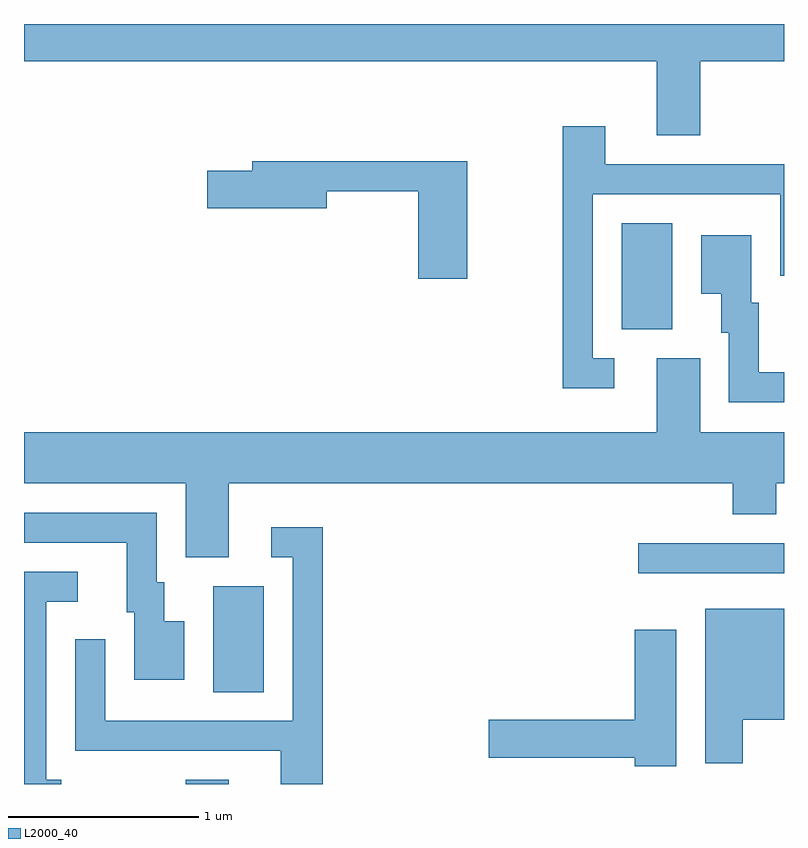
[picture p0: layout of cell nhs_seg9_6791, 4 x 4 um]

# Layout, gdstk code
import gdstk
lib = gdstk.Library(unit=1e-6, precision=1e-09)
def R(c, l, rs):  # rectangles x0, y0, x1, y1
    for r in rs: c.add(gdstk.rectangle(r[:2], r[2:], *l))
def P(c, l, *ps):  # polygons
    for p in ps: c.add(gdstk.Polygon(p, *l))
L2000_40 = (2000, 40)

nhs_seg9_6791 = lib.new_cell('nhs_seg9_6791')
R(nhs_seg9_6791, L2000_40, [(386.461,2012.432,386.689,2012.454), (386.606,2012.916,386.874,2013.474), (388.843,2013.541,389.611,2013.699), (388.756,2014.826,389.024,2015.384)])
P(nhs_seg9_6791, L2000_40, [(389.169,2016.236),(389.611,2016.236),(389.611,2016.432),(385.611,2016.432),(385.611,2016.236),(388.941,2016.236),(388.941,2015.846),(389.169,2015.846)],
  [(388.718,2014.674),(388.604,2014.674),(388.604,2015.536),(389.591,2015.536),(389.591,2015.108),(389.611,2015.108),(389.611,2015.694),(388.669,2015.694),(388.669,2015.894),(388.446,2015.894),(388.446,2014.516),(388.718,2014.516)],
  [(387.944,2015.709),(386.811,2015.709),(386.811,2015.659),(386.576,2015.659),(386.576,2015.461),(387.204,2015.461),(387.204,2015.551),(387.686,2015.551),(387.686,2015.091),(387.944,2015.091)],
  [(389.611,2014.599),(389.479,2014.599),(389.479,2014.964),(389.439,2014.964),(389.439,2015.319),(389.176,2015.319),(389.176,2015.011),(389.281,2015.011),(389.281,2014.806),(389.321,2014.806),(389.321,2014.441),(389.611,2014.441)],
  [(386.689,2014.016),(389.341,2014.016),(389.341,2013.851),(389.569,2013.851),(389.569,2014.016),(389.611,2014.016),(389.611,2014.284),(389.169,2014.284),(389.169,2014.674),(388.941,2014.674),(388.941,2014.284),(385.611,2014.284),(385.611,2014.016),(386.461,2014.016),(386.461,2013.626),(386.689,2013.626)],
  [(386.454,2013.289),(386.349,2013.289),(386.349,2013.494),(386.309,2013.494),(386.309,2013.859),(385.611,2013.859),(385.611,2013.701),(386.151,2013.701),(386.151,2013.336),(386.191,2013.336),(386.191,2012.981),(386.454,2012.981)],
  [(387.184,2013.784),(386.913,2013.784),(386.913,2013.626),(387.026,2013.626),(387.026,2012.764),(386.039,2012.764),(386.039,2013.193),(385.881,2013.193),(385.881,2012.606),(386.961,2012.606),(386.961,2012.432),(387.184,2012.432)],
  [(385.808,2012.454),(385.729,2012.454),(385.729,2013.391),(385.893,2013.391),(385.893,2013.549),(385.611,2013.549),(385.611,2012.432),(385.808,2012.432)],
  [(389.394,2012.771),(389.611,2012.771),(389.611,2013.354),(389.196,2013.354),(389.196,2012.541),(389.394,2012.541)],
  [(389.044,2013.244),(388.826,2013.244),(388.826,2012.769),(388.056,2012.769),(388.056,2012.571),(388.826,2012.571),(388.826,2012.526),(389.044,2012.526)])

lib.write_gds('nhs_seg9_6791.gds')
